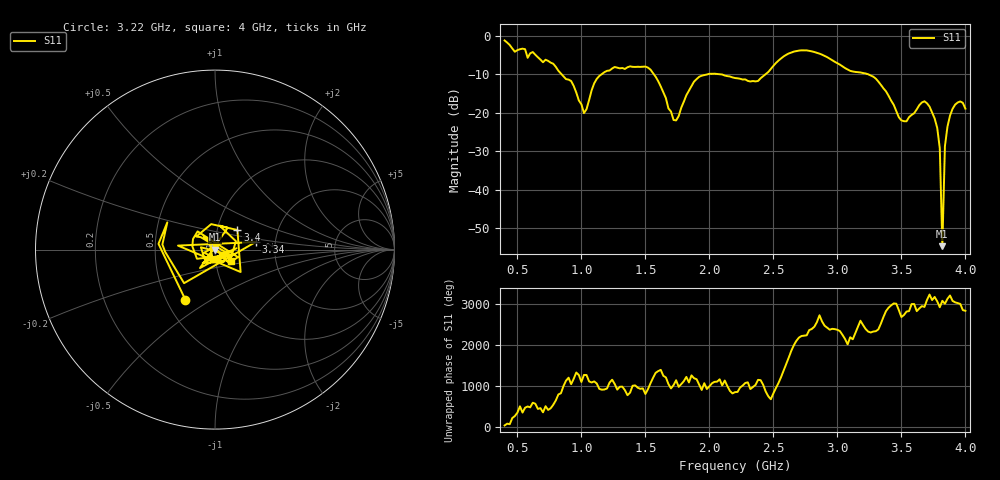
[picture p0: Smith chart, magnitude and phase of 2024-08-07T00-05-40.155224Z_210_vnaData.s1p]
!Created with skrf (http://scikit-rf.org).
# Hz S RI R 50.0
!freq ReS11 ImS11
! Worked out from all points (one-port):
!   181 points, 400 MHz to 4 GHz, reference 50 ohm
!   lowest |S11| = -54.7 dB at 3.82 GHz (marker M1), VSWR 1.00, Z = 49.8 - j0.0926 ohm
!   |S11| at or under -10 dB: 1.566 GHz to 1.986 GHz (419.3 MHz wide, 23.6 % of centre); 2.087 GHz to 2.439 GHz (351.8 MHz wide, 15.5 % of centre); 3.241 GHz to end of sweep (the widest 3 of 4)
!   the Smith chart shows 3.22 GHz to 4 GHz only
!   S11 on the Smith chart (normalised r, x): 3.22 GHz: 0.62, -0.39; 3.34 GHz: 1.58, +0.14; 3.4 GHz: 1.25, +0.28; 4 GHz: 1.19, -0.16
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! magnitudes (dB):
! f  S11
! 400 MHz  -1.2
! 860 MHz  -10.5
! 920 MHz  -11.8
! 1.02 GHz  -20.1
! 1.12 GHz  -11.2
! 1.3 GHz  -8.4
! 1.54 GHz  -8.8
! 1.72 GHz  -21.9
! 1.76 GHz  -20.9
! 1.92 GHz  -10.6
! 2.2 GHz  -11.0
! 2.38 GHz  -11.7
! 2.66 GHz  -4.1
! 2.86 GHz  -4.6
! 3.1 GHz  -9.1
! 3.22 GHz  -9.8
! 3.34 GHz  -12.7
! 3.4 GHz  -15.6
! 3.5 GHz  -22.0
! 3.56 GHz  -21.1
! 3.68 GHz  -17.0
! 3.78 GHz  -24.0
! 3.8 GHz  -29.3
! 3.82 GHz  -54.7
! 3.84 GHz  -28.7
! 3.86 GHz  -23.6
! 3.92 GHz  -17.9
! 4 GHz  -18.9
